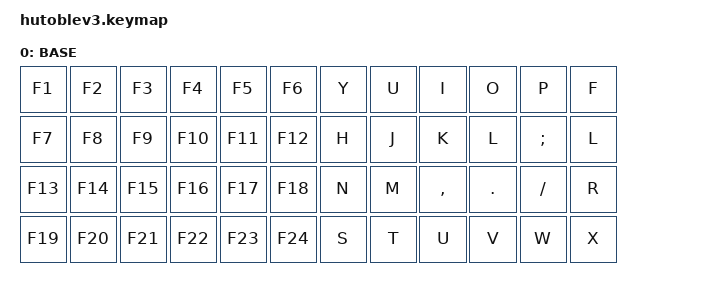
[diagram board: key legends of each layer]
#include <behaviors.dtsi>
#include <dt-bindings/zmk/keys.h>
#include <dt-bindings/zmk/bt.h>
#include <dt-bindings/zmk/outputs.h>

#define BASE 0


&kp {
  quick-tap-ms = <100>;
  global-quick-tap;
  flavor = "tap-preferred";
  tapping-term-ms = <170>;
};

/ {
        keymap {
                compatible = "zmk,keymap";
// ▄▄▄▄▄▄▄▄▄▄▄▄▄▄▄▄▄▄▄▄▄▄▄▄▄▄▄▄▄▄▄▄▄▄▄▄▄▄▄▄▄▄▄▄▄▄▄▄▄▄▄▄▄▄▄▄▄▄▄▄▄▄▄▄▄▄▄▄▄▄▄▄▄▄▄▄▄▄▄▄▄▄▄▄▄▄▄▄▄▄▄▄▄▄▄▄▄▄▄▄▄▄▄▄▄▄▄▄▄▄▄▄▄▄▄▄▄▄▄▄▄▄▄▄▄▄▄▄▄▄▄▄▄▄▄▄▄▄▄▄▄▄▄▄▄▄▄▄▄

                base_layer {
// ┏━━━━━━━━━━━━━━━━━━━━━━━━━━━━━━━━━━━━━━━┓
label= "BASE"                              ;
// ┗━━━━━━━━━━━━━━━━━━━━━━━━━━━━━━━━━━━━━━━┛

// ┏━━━━━━━━━━━┏━━━━━━━━━━━┳━━━━━━━━━━━┳━━━━━━━━━━━┳━━━━━━━━━━━┳━━━━━━━━━━━┓   ┏━━━━━━━━━━━┳━━━━━━━━━━━┳━━━━━━━━━━━┳━━━━━━━━━━━┳━━━━━━━━━━━┓━━━━━━━━━━━┓
// ┃     x     ┃     x     ┃     x     ┃     x     ┃     x     ┃     x     ┃   ┃     x     ┃     x     ┃     x     ┃     x     ┃     x     ┃     x     ┃
// ┣━━━━━━━━━━━┣━━━━━━━━━━━╋━━━━━━━━━━━╋━━━━━━━━━━━╋━━━━━━━━━━━╋━━━━━━━━━━━┫   ┣━━━━━━━━━━━╋━━━━━━━━━━━╋━━━━━━━━━━━╋━━━━━━━━━━━╋━━━━━━━━━━━┫━━━━━━━━━━━┫
// ┃     x     ┃     x     ┃     x     ┃     x     ┃     x     ┃     x     ┃   ┃     x     ┃     x     ┃     x     ┃     x     ┃     x     ┃     x     ┃
// ┣━━━━━━━━━━━╋━━━━━━━━━━━╋━━━━━━━━━━━╋━━━━━━━━━━━╋━━━━━━━━━━━╋━━━━━━━━━━━┫   ┣━━━━━━━━━━━╋━━━━━━━━━━━╋━━━━━━━━━━━╋━━━━━━━━━━━╋━━━━━━━━━━━┫━━━━━━━━━━━┫
// ┃     x     ┃     x     ┃     x     ┃     x     ┃     x     ┃     x     ┃   ┃     x     ┃     x     ┃     x     ┃     x     ┃     x     ┃     x     ┃
// ┣━━━━━━━━━━━┻━━━━━━━━━━━┻━━━━━━━━━━━╋━━━━━━━━━━━╋━━━━━━━━━━━╋━━━━━━━━━━━┫   ┣━━━━━━━━━━━╋━━━━━━━━━━━╋━━━━━━━━━━━╋━━━━━━━━━━━┻━━━━━━━━━━━┻━━━━━━━━━━━┫
// ┃     x     ┃     x     ┃     x     ┃     x     ┃     x     ┃     x     ┃   ┃     x     ┃     x     ┃     x     ┃     x     ┃     x     ┃     x     ┃
// ┗━━━━━━━━━━━┻━━━━━━━━━━━┻━━━━━━━━━━━┻━━━━━━━━━━━┻━━━━━━━━━━━┻━━━━━━━━━━━┫   ┣━━━━━━━━━━━┻━━━━━━━━━━━┻━━━━━━━━━━━┻━━━━━━━━━━━┻━━━━━━━━━━━┻━━━━━━━━━━━┛
 bindings = <
// ╷           ╷           ╷           ╷           ╷           ╷              ╷           ╷           ╷           ╷           ╷           ╷           ╷
   &kp F1      &kp F2       &kp F3       &kp F4    &kp F5      &kp F6         &kp Y        &kp U       &kp I       &kp O      &kp P       &kp F
   &kp F7      &kp F8       &kp F9       &kp F10   &kp F11     &kp F12        &kp H        &kp J       &kp K       &kp L      &kp SEMI    &kp L
   &kp F13     &kp F14      &kp F15      &kp F16   &kp F17     &kp F18         &kp N        &kp M       &kp COMMA   &kp DOT    &kp SLASH   &kp R
   &kp F19     &kp F20      &kp F21      &kp F22   &kp F23     &kp F24         &kp S        &kp T       &kp U       &kp V      &kp W       &kp X
                        >;
                };
        };
};
//  bindings = <
// // ╷           ╷           ╷           ╷           ╷           ╷              ╷           ╷           ╷           ╷           ╷           ╷           ╷
//    &kp F1      &kp F2       &kp F3       &kp F4    &kp F5      &kp F6         &kp Y        &kp U       &kp I       &kp O      &kp P       &kp F
//    &kp F7      &kp F8       &kp F9       &kp F10   &kp F11     &kp F12        &kp H        &kp J       &kp K       &kp L      &kp SEMI    &kp L
//    &kp F13     &kp F14      &kp F15      &kp F16   &kp F17     &kp F18         &kp N        &kp M       &kp COMMA   &kp DOT    &kp SLASH   &kp R
//    &kp F19     &kp F20      &kp F21      &kp F22   &kp F23     &kp F24         &kp S        &kp T       &kp U       &kp V      &kp W       &kp X
//                         >;
//                 };
//         };
// };
